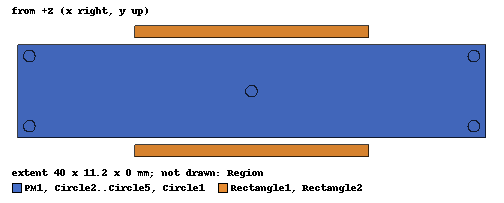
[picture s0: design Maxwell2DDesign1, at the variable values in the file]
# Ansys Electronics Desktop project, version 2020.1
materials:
  vacuum: permittivity=1
  XG196/96: permeability{HUnit=A_per_meter BUnit=tesla curve (-880000, -1.91134497) (-860000, -1.358424663) (-840000, -0.855769839) (-820000, -0.554176944) (-800000, -0.378247755) (-780000, -0.26515042) (-760000, -0.177185826) (-740000, -0.114353973) (-720000, -0.06408849) (-690000, 0) (-663114, 0.0487979) (-635338, 0.0975957) (-606628, 0.146394) (-576936, 0.195191) (-546211, 0.243989) (-514397, 0.292787) (-481437, 0.341585) (-447266, 0.390383) (-411817, 0.439181) (-375016, 0.487979) (-333348, 0.541105) (-291679, 0.593468) (-250011, 0.64583) (-208342, 0.698192) (-166674, 0.750554) (-125005, 0.802916) (-83337, 0.855278) (-41668.5, 0.907641) (0, 0.96)} magnetic_coercivity{Magnitude=-689230.11A_per_meter DirComp1=1 DirComp2=0 DirComp3=0}
  copper: permeability=0.999991 conductivity=58000000

design Maxwell2DDesign1 (Maxwell 2D, Magnetostatic, XY geometry, model units mm)
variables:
  I = 40kA
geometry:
  PM1 [XG196/96] = rectangle(corner=(-20mm, -4mm, 0mm), x_size=40mm, y_size=8mm)
  Region [vacuum] = region(percentage_offset: +X=100, -X=100, +Y=200, -Y=200, +Z=0, -Z=0)
  Circle1 [XG196/96] = circle(normal=Z, centre=(0mm, 0mm, 0mm), radius=0.5mm)
  Circle2 [XG196/96] = circle(normal=Z, centre=(-19mm, 3mm, 0mm), radius=0.5mm)
  Circle3 [XG196/96] = circle(normal=Z, centre=(-19mm, -3mm, 0mm), radius=0.5mm)
  Circle4 [XG196/96] = circle(normal=Z, centre=(19mm, 3mm, 0mm), radius=0.5mm)
  Circle5 [XG196/96] = circle(normal=Z, centre=(19mm, -3mm, 0mm), radius=0.5mm)
  Rectangle1 [copper] = rectangle(corner=(-10mm, 4.6mm, 0mm), x_size=20mm, y_size=1mm)
  Rectangle2 [copper] = rectangle(corner=(-10mm, -5.6mm, 0mm), x_size=20mm, y_size=1mm)
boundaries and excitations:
  Balloon1: Balloon Edges=Region.edge(all 4)
  Current1: Current Objects=Rectangle1 Current=I IsPositive=false
  Current2: Current Objects=Rectangle2 Current=I IsPositive=true
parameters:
  Matrix1: Matrix Current1, Current2: NumberOfTurns=1000; group Group1 = Current1, Current2 (1 parallel)
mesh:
  initial mesh: MeshMethod=AnsoftTAU
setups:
  Setup1: Magnetostatic MaximumPasses=10 MinimumPasses=2 MinimumConvergedPasses=1 PercentRefinement=30 PercentError=1 NonLinearResidual=0.0001
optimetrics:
  ParametricSetup1: Parametric Sim._Setups=[Setup1]
    sweep I: LIN -20kA 80kA 5kA
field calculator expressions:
  Surface_detection_circle1 = 1 | EnterSurface(Circle1) | SurfaceValue | Integrate
  B_1 = Fundamental_Quantity(22) | ScalarX | EnterSurface(Circle1) | SurfaceValue | Integrate | Surface_detection_circle1 | /
  H_1 = Fundamental_Quantity(21) | ScalarX | EnterSurface(Circle1) | SurfaceValue | Integrate | Surface_detection_circle1 | /
  Surface_detection_circle2 = 1 | EnterSurface(Circle2) | SurfaceValue | Integrate
  B_2 = Fundamental_Quantity(22) | ScalarX | EnterSurface(Circle2) | SurfaceValue | Integrate | Surface_detection_circle2 | /
  H_2 = Fundamental_Quantity(21) | ScalarX | EnterSurface(Circle2) | SurfaceValue | Integrate | Surface_detection_circle2 | /
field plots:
  Mag_B1, B_Vector1: B over Circle1..Circle5, PM1, Region, Rectangle1, Rectangle2 on Setup1 : LastAdaptive
  Demag_Coef1: Demag-Coef over Circle1..Circle5, PM1 on Setup1 : LastAdaptive
  Mag_H1: H over Circle1..Circle5, PM1 on Setup1 : LastAdaptive
  H_Vector1: H over PM1, Circle1..Circle5 on Setup1 : LastAdaptive
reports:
  recoil_curve: Y Component 1 vs Primary Sweep; B_1 vs H_1; B_2 vs H_2
